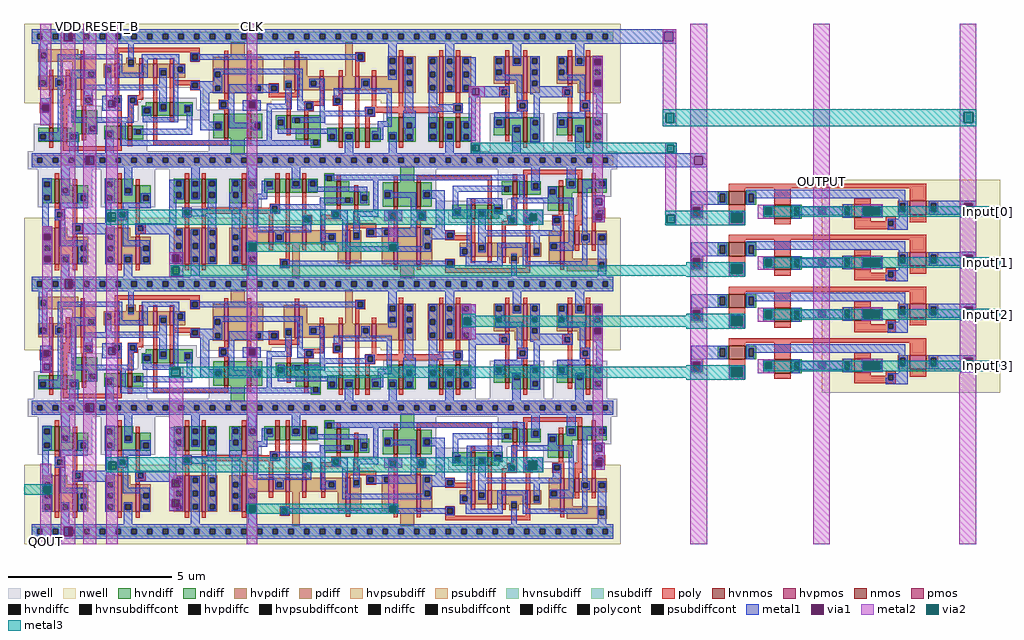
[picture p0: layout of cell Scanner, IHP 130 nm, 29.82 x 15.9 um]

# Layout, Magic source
magic
tech ihp-sg13g2
<< metal1 >>
rect 1768 2393 1969 2400
rect 1768 2364 1932 2393
rect 1959 2364 1969 2393
rect 1768 2356 1969 2364
rect 1356 2220 1460 2226
rect 1367 2198 1460 2220
rect 1356 2193 1460 2198
rect 1548 2193 1652 2226
rect 1768 2013 2063 2022
rect 1768 1987 2024 2013
rect 2050 1987 2063 2013
rect 1768 1978 2063 1987
rect 157 1774 224 1807
rect 316 1774 441 1807
rect 1356 1437 1460 1470
rect 1548 1437 1652 1470
rect 124 1018 228 1051
rect 316 1018 420 1051
<< via1 >>
rect 98 2364 125 2392
rect 1932 2364 1959 2393
rect 1719 2290 1739 2310
rect 1345 2198 1367 2220
rect 1718 2224 1740 2246
rect 32 2149 53 2171
rect 233 2162 256 2184
rect 662 2159 684 2181
rect 163 1986 190 2014
rect 2024 1987 2050 2013
rect 1722 1863 1743 1884
rect 1091 1819 1114 1842
rect 1521 1815 1542 1837
rect 1722 1817 1743 1838
rect 37 1755 57 1775
rect 38 1688 58 1708
rect 429 1689 451 1713
rect 100 1607 125 1636
rect 1719 1534 1739 1554
rect 1319 1496 1342 1519
rect 1719 1469 1739 1489
rect 35 1400 55 1420
rect 233 1406 256 1428
rect 662 1403 684 1425
rect 36 1359 56 1379
rect 163 1230 190 1258
rect 1721 1110 1743 1132
rect 1092 1063 1115 1085
rect 1517 1054 1544 1082
rect 1721 1064 1743 1086
rect 36 983 58 1005
rect 428 1001 452 1026
rect 428 940 452 965
rect 98 852 125 880
<< metal2 >>
rect 25 2171 60 2417
rect 25 2149 32 2171
rect 53 2149 60 2171
rect 25 2107 60 2149
rect 89 2392 133 2417
rect 89 2364 98 2392
rect 125 2364 133 2392
rect 32 1775 62 1798
rect 32 1755 37 1775
rect 57 1755 62 1775
rect 32 1708 62 1755
rect 32 1688 38 1708
rect 58 1688 62 1708
rect 32 1420 62 1688
rect 32 1400 35 1420
rect 55 1400 62 1420
rect 32 1379 62 1400
rect 32 1359 36 1379
rect 56 1359 62 1379
rect 32 1351 62 1359
rect 89 1636 133 2364
rect 89 1607 100 1636
rect 125 1607 133 1636
rect 25 1030 60 1073
rect 25 1005 62 1030
rect 25 983 36 1005
rect 58 983 62 1005
rect 25 978 62 983
rect 25 827 60 978
rect 89 880 133 1607
rect 89 852 97 880
rect 125 852 133 880
rect 89 827 133 852
rect 157 2014 196 2417
rect 157 1986 163 2014
rect 190 1986 196 2014
rect 157 1258 196 1986
rect 157 1230 163 1258
rect 190 1230 196 1258
rect 157 827 196 1230
rect 228 2184 263 2417
rect 228 2162 233 2184
rect 256 2162 263 2184
rect 228 1839 263 2162
rect 228 1813 232 1839
rect 257 1813 263 1839
rect 228 1428 263 1813
rect 657 2181 689 2417
rect 1927 2393 1969 2400
rect 1927 2364 1932 2393
rect 1959 2364 1969 2393
rect 1714 2310 1745 2319
rect 1714 2290 1719 2310
rect 1739 2290 1745 2310
rect 1714 2246 1745 2290
rect 1335 2220 1383 2226
rect 1335 2198 1345 2220
rect 1367 2198 1383 2220
rect 1335 2193 1383 2198
rect 1714 2224 1718 2246
rect 1740 2224 1745 2246
rect 657 2159 662 2181
rect 684 2159 689 2181
rect 657 1746 689 2159
rect 1342 2048 1370 2193
rect 1342 2027 1346 2048
rect 1367 2027 1370 2048
rect 1342 2022 1370 2027
rect 1714 1893 1745 2224
rect 1927 2143 1969 2364
rect 1927 2114 1936 2143
rect 1962 2114 1969 2143
rect 1927 2104 1969 2114
rect 1935 2048 1969 2053
rect 1935 2025 1941 2048
rect 1963 2025 1969 2048
rect 1714 1884 1751 1893
rect 1714 1863 1722 1884
rect 1743 1863 1751 1884
rect 1077 1842 1131 1848
rect 1077 1819 1091 1842
rect 1114 1819 1131 1842
rect 1077 1814 1131 1819
rect 1501 1837 1562 1849
rect 1501 1815 1521 1837
rect 1542 1815 1562 1837
rect 657 1725 662 1746
rect 685 1725 689 1746
rect 420 1713 462 1719
rect 420 1689 429 1713
rect 451 1689 462 1713
rect 420 1674 462 1689
rect 420 1652 429 1674
rect 451 1652 462 1674
rect 420 1644 462 1652
rect 228 1406 233 1428
rect 256 1406 263 1428
rect 228 1079 263 1406
rect 657 1425 689 1725
rect 1089 1749 1116 1814
rect 1501 1803 1562 1815
rect 1714 1838 1751 1863
rect 1714 1817 1722 1838
rect 1743 1817 1751 1838
rect 1714 1811 1751 1817
rect 1935 1833 1969 2025
rect 2011 2013 2063 2417
rect 2011 1987 2024 2013
rect 2050 1987 2063 2013
rect 2011 1911 2063 1987
rect 2387 1929 2438 2417
rect 2835 2147 2886 2417
rect 2835 2114 2847 2147
rect 2876 2114 2886 2147
rect 2835 1939 2886 2114
rect 1935 1807 1940 1833
rect 1964 1807 1969 1833
rect 1935 1802 1969 1807
rect 1089 1744 1119 1749
rect 1089 1724 1094 1744
rect 1114 1724 1119 1744
rect 1089 1720 1119 1724
rect 1314 1531 1356 1560
rect 1714 1554 1744 1562
rect 1714 1534 1719 1554
rect 1739 1534 1744 1554
rect 1314 1519 1357 1531
rect 1314 1496 1319 1519
rect 1342 1496 1357 1519
rect 1314 1490 1357 1496
rect 1314 1453 1356 1490
rect 1714 1489 1744 1534
rect 1714 1469 1719 1489
rect 1739 1469 1744 1489
rect 657 1403 662 1425
rect 684 1403 689 1425
rect 228 1055 234 1079
rect 258 1055 263 1079
rect 228 827 263 1055
rect 420 1366 462 1369
rect 420 1340 426 1366
rect 454 1340 462 1366
rect 420 1026 462 1340
rect 420 1001 428 1026
rect 452 1001 462 1026
rect 420 965 462 1001
rect 420 940 428 965
rect 452 940 462 965
rect 420 928 462 940
rect 657 946 689 1403
rect 1714 1137 1744 1469
rect 1714 1132 1751 1137
rect 1714 1110 1721 1132
rect 1743 1110 1751 1132
rect 1077 1085 1131 1092
rect 1077 1063 1092 1085
rect 1115 1063 1131 1085
rect 1077 1060 1131 1063
rect 1501 1082 1562 1093
rect 657 925 662 946
rect 684 925 689 946
rect 657 827 689 925
rect 1089 945 1118 1060
rect 1501 1054 1517 1082
rect 1544 1054 1562 1082
rect 1714 1086 1751 1110
rect 1714 1064 1721 1086
rect 1743 1064 1751 1086
rect 1714 1055 1751 1064
rect 1501 1047 1562 1054
rect 1089 925 1094 945
rect 1114 925 1118 945
rect 1089 920 1118 925
rect 2011 827 2063 1330
rect 2387 827 2438 1292
rect 2834 827 2885 1345
<< via2 >>
rect 36 983 57 1004
rect 232 1813 257 1839
rect 1346 2027 1367 2048
rect 1936 2114 1962 2143
rect 1941 2025 1963 2048
rect 1521 1815 1542 1837
rect 662 1725 685 1746
rect 429 1652 451 1674
rect 2847 2114 2876 2147
rect 1940 1807 1964 1833
rect 1094 1724 1114 1744
rect 1319 1496 1342 1519
rect 234 1055 258 1079
rect 426 1340 454 1366
rect 662 925 684 946
rect 1517 1054 1544 1082
rect 1094 925 1114 945
<< metal3 >>
rect 1927 2147 2885 2156
rect 1927 2143 2847 2147
rect 1927 2114 1936 2143
rect 1962 2114 2847 2143
rect 2876 2114 2885 2147
rect 1927 2104 2885 2114
rect 1341 2048 1970 2053
rect 1341 2027 1346 2048
rect 1367 2027 1941 2048
rect 1341 2025 1941 2027
rect 1963 2025 1970 2048
rect 1341 2022 1970 2025
rect 228 1839 1562 1849
rect 228 1813 232 1839
rect 257 1837 1562 1839
rect 257 1815 1521 1837
rect 1542 1815 1562 1837
rect 257 1813 1562 1815
rect 228 1803 1562 1813
rect 1935 1833 2009 1846
rect 1935 1807 1940 1833
rect 1964 1807 2009 1833
rect 2886 1828 2958 1860
rect 1935 1801 2009 1807
rect 657 1746 1119 1749
rect 657 1725 662 1746
rect 685 1744 1119 1746
rect 685 1725 1094 1744
rect 657 1724 1094 1725
rect 1114 1724 1119 1744
rect 657 1720 1119 1724
rect 424 1674 2000 1680
rect 424 1652 429 1674
rect 451 1652 2000 1674
rect 2886 1671 2958 1703
rect 424 1647 2000 1652
rect 1314 1525 1357 1531
rect 1314 1519 2000 1525
rect 1314 1496 1319 1519
rect 1342 1496 2000 1519
rect 2886 1514 2958 1546
rect 1314 1492 2000 1496
rect 1314 1490 1357 1492
rect 420 1366 2001 1369
rect 420 1340 426 1366
rect 454 1340 2001 1366
rect 2886 1356 2958 1388
rect 420 1335 2001 1340
rect 228 1082 1562 1093
rect 228 1079 1517 1082
rect 228 1055 234 1079
rect 258 1055 1517 1079
rect 228 1054 1517 1055
rect 1544 1054 1562 1082
rect 228 1047 1562 1054
rect -24 1004 62 1010
rect -24 983 36 1004
rect 57 983 62 1004
rect -24 978 62 983
rect 657 946 1119 950
rect 657 925 662 946
rect 684 945 1119 946
rect 684 925 1094 945
rect 1114 925 1119 945
rect 657 920 1119 925
use 4TgateVinj  4TgateVinj_0 ~/ASHES-IHP130nm/ihp130_cells/4TgateVinj
transform -1 0 2958 0 1 1762
box 0 -472 958 178
use sg13g2_buf_1  sg13g2_buf_1_0 ~/ASHES-IHP130nm/ihp130_dig
transform 1 0 1392 0 1 2000
box -24 -28 216 417
use sg13g2_buf_1  sg13g2_buf_1_1
transform 1 0 1584 0 1 2000
box -24 -28 216 417
use sg13g2_buf_1  sg13g2_buf_1_2
transform -1 0 192 0 -1 2000
box -24 -28 216 417
use sg13g2_buf_1  sg13g2_buf_1_3
transform -1 0 384 0 -1 2000
box -24 -28 216 417
use sg13g2_buf_1  sg13g2_buf_1_8
transform -1 0 384 0 -1 1244
box -24 -28 216 417
use sg13g2_buf_1  sg13g2_buf_1_9
transform -1 0 192 0 -1 1244
box -24 -28 216 417
use sg13g2_buf_1  sg13g2_buf_1_10
transform 1 0 1584 0 1 1244
box -24 -28 216 417
use sg13g2_buf_1  sg13g2_buf_1_11
transform 1 0 1392 0 1 1244
box -24 -28 216 417
use sg13g2_dfrbp_1  sg13g2_dfrbp_1_0 ~/ASHES-IHP130nm/ihp130_dig
transform 1 0 0 0 1 2000
box -24 -28 1416 417
use sg13g2_dfrbp_1  sg13g2_dfrbp_1_1
transform -1 0 1776 0 -1 2000
box -24 -28 1416 417
use sg13g2_dfrbp_1  sg13g2_dfrbp_1_4
transform 1 0 0 0 1 1244
box -24 -28 1416 417
use sg13g2_dfrbp_1  sg13g2_dfrbp_1_5
transform -1 0 1776 0 -1 1244
box -24 -28 1416 417
<< labels >>
flabel metal3 2886 1828 2958 1860 1 FreeSans 80 90 0 0 Input[0]
port 1 n
flabel metal3 2886 1671 2958 1703 1 FreeSans 80 90 0 0 Input[1]
port 2 n
flabel metal3 2886 1514 2958 1546 1 FreeSans 80 90 0 0 Input[2]
port 3 n
flabel metal3 2886 1356 2958 1388 1 FreeSans 80 90 0 0 Input[3]
port 4 n
flabel metal2 2387 1929 2438 1940 1 FreeSans 80 0 0 0 OUTPUT
port 5 n
flabel metal2 228 2400 263 2417 1 FreeSans 80 0 0 0 RESET_B
port 6 n
flabel metal2 657 2400 689 2417 1 FreeSans 80 0 0 0 CLK
port 7 n
flabel metal2 89 2400 133 2417 1 FreeSans 80 0 0 0 VDD
port 8 n
flabel metal2 157 2400 196 2417 1 FreeSans 80 0 0 0 VSS
port 9 n
flabel metal2 25 2400 60 2417 1 FreeSans 80 0 0 0 DIN
port 10 n
flabel metal2 25 827 60 844 1 FreeSans 80 0 0 0 QOUT
port 11 n
<< end >>

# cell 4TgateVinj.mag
magic
tech ihp-sg13g2
<< nwell >>
rect 0 -472 544 178
<< hvnmos >>
rect 779 102 829 144
rect 640 60 690 102
rect 779 -55 829 -13
rect 640 -97 690 -55
rect 779 -213 829 -171
rect 640 -255 690 -213
rect 779 -370 829 -328
rect 640 -412 690 -370
<< hvpmos >>
rect 225 72 275 114
rect 395 62 445 104
rect 225 -85 275 -43
rect 395 -95 445 -53
rect 225 -243 275 -201
rect 395 -253 445 -211
rect 225 -400 275 -358
rect 395 -410 445 -368
<< hvndiff >>
rect 745 136 779 144
rect 745 110 752 136
rect 768 110 779 136
rect 745 102 779 110
rect 829 136 863 144
rect 829 110 840 136
rect 856 110 863 136
rect 829 102 863 110
rect 606 94 640 102
rect 606 68 613 94
rect 629 68 640 94
rect 606 60 640 68
rect 690 90 724 102
rect 690 72 701 90
rect 717 72 724 90
rect 690 60 724 72
rect 745 -21 779 -13
rect 745 -47 752 -21
rect 768 -47 779 -21
rect 745 -55 779 -47
rect 829 -21 863 -13
rect 829 -47 840 -21
rect 856 -47 863 -21
rect 829 -55 863 -47
rect 606 -63 640 -55
rect 606 -89 613 -63
rect 629 -89 640 -63
rect 606 -97 640 -89
rect 690 -67 724 -55
rect 690 -85 701 -67
rect 717 -85 724 -67
rect 690 -97 724 -85
rect 745 -179 779 -171
rect 745 -205 752 -179
rect 768 -205 779 -179
rect 745 -213 779 -205
rect 829 -179 863 -171
rect 829 -205 840 -179
rect 856 -205 863 -179
rect 829 -213 863 -205
rect 606 -221 640 -213
rect 606 -247 613 -221
rect 629 -247 640 -221
rect 606 -255 640 -247
rect 690 -225 724 -213
rect 690 -243 701 -225
rect 717 -243 724 -225
rect 690 -255 724 -243
rect 745 -336 779 -328
rect 745 -362 752 -336
rect 768 -362 779 -336
rect 745 -370 779 -362
rect 829 -336 863 -328
rect 829 -362 840 -336
rect 856 -362 863 -336
rect 829 -370 863 -362
rect 606 -378 640 -370
rect 606 -404 613 -378
rect 629 -404 640 -378
rect 606 -412 640 -404
rect 690 -382 724 -370
rect 690 -400 701 -382
rect 717 -400 724 -382
rect 690 -412 724 -400
<< hvpdiff >>
rect 188 106 225 114
rect 188 80 195 106
rect 211 80 225 106
rect 188 72 225 80
rect 275 107 312 114
rect 275 81 289 107
rect 305 81 312 107
rect 275 72 312 81
rect 358 96 395 104
rect 358 70 366 96
rect 382 70 395 96
rect 358 62 395 70
rect 445 96 482 104
rect 445 70 459 96
rect 475 70 482 96
rect 445 62 482 70
rect 188 -51 225 -43
rect 188 -77 195 -51
rect 211 -77 225 -51
rect 188 -85 225 -77
rect 275 -50 312 -43
rect 275 -76 289 -50
rect 305 -76 312 -50
rect 275 -85 312 -76
rect 358 -61 395 -53
rect 358 -87 366 -61
rect 382 -87 395 -61
rect 358 -95 395 -87
rect 445 -61 482 -53
rect 445 -87 459 -61
rect 475 -87 482 -61
rect 445 -95 482 -87
rect 188 -209 225 -201
rect 188 -235 195 -209
rect 211 -235 225 -209
rect 188 -243 225 -235
rect 275 -208 312 -201
rect 275 -234 289 -208
rect 305 -234 312 -208
rect 275 -243 312 -234
rect 358 -219 395 -211
rect 358 -245 366 -219
rect 382 -245 395 -219
rect 358 -253 395 -245
rect 445 -219 482 -211
rect 445 -245 459 -219
rect 475 -245 482 -219
rect 445 -253 482 -245
rect 188 -366 225 -358
rect 188 -392 195 -366
rect 211 -392 225 -366
rect 188 -400 225 -392
rect 275 -365 312 -358
rect 275 -391 289 -365
rect 305 -391 312 -365
rect 275 -400 312 -391
rect 358 -376 395 -368
rect 358 -402 366 -376
rect 382 -402 395 -376
rect 358 -410 395 -402
rect 445 -376 482 -368
rect 445 -402 459 -376
rect 475 -402 482 -376
rect 445 -410 482 -402
<< hvndiffc >>
rect 752 110 768 136
rect 840 110 856 136
rect 613 68 629 94
rect 701 72 717 90
rect 752 -47 768 -21
rect 840 -47 856 -21
rect 613 -89 629 -63
rect 701 -85 717 -67
rect 752 -205 768 -179
rect 840 -205 856 -179
rect 613 -247 629 -221
rect 701 -243 717 -225
rect 752 -362 768 -336
rect 840 -362 856 -336
rect 613 -404 629 -378
rect 701 -400 717 -382
<< hvpdiffc >>
rect 195 80 211 106
rect 289 81 305 107
rect 366 70 382 96
rect 459 70 475 96
rect 195 -77 211 -51
rect 289 -76 305 -50
rect 366 -87 382 -61
rect 459 -87 475 -61
rect 195 -235 211 -209
rect 289 -234 305 -208
rect 366 -245 382 -219
rect 459 -245 475 -219
rect 195 -392 211 -366
rect 289 -391 305 -365
rect 366 -402 382 -376
rect 459 -402 475 -376
<< hvpsubdiff >>
rect 906 94 947 103
rect 906 66 916 94
rect 937 66 947 94
rect 906 58 947 66
rect 906 -63 947 -54
rect 906 -91 916 -63
rect 937 -91 947 -63
rect 906 -99 947 -91
rect 906 -221 947 -212
rect 906 -249 916 -221
rect 937 -249 947 -221
rect 906 -257 947 -249
rect 906 -378 947 -369
rect 906 -406 916 -378
rect 937 -406 947 -378
rect 906 -414 947 -406
<< hvnsubdiff >>
rect 72 106 123 115
rect 72 75 83 106
rect 111 75 123 106
rect 72 63 123 75
rect 72 -51 123 -42
rect 72 -82 83 -51
rect 111 -82 123 -51
rect 72 -94 123 -82
rect 72 -209 123 -200
rect 72 -240 83 -209
rect 111 -240 123 -209
rect 72 -252 123 -240
rect 72 -366 123 -357
rect 72 -397 83 -366
rect 111 -397 123 -366
rect 72 -409 123 -397
<< hvpsubdiffcont >>
rect 916 66 937 94
rect 916 -91 937 -63
rect 916 -249 937 -221
rect 916 -406 937 -378
<< hvnsubdiffcont >>
rect 83 75 111 106
rect 83 -82 111 -51
rect 83 -240 111 -209
rect 83 -397 111 -366
<< poly >>
rect 225 152 829 167
rect 225 114 275 152
rect 395 104 445 122
rect 225 49 275 72
rect 319 54 349 65
rect 640 102 690 152
rect 779 144 829 152
rect 319 38 326 54
rect 342 52 349 54
rect 395 52 445 62
rect 779 78 829 102
rect 342 38 445 52
rect 640 42 690 60
rect 779 48 788 78
rect 822 48 829 78
rect 779 39 829 48
rect 319 28 445 38
rect 225 -5 829 10
rect 225 -43 275 -5
rect 395 -53 445 -35
rect 225 -108 275 -85
rect 319 -103 349 -92
rect 640 -55 690 -5
rect 779 -13 829 -5
rect 319 -119 326 -103
rect 342 -105 349 -103
rect 395 -105 445 -95
rect 779 -79 829 -55
rect 342 -119 445 -105
rect 640 -115 690 -97
rect 779 -109 788 -79
rect 822 -109 829 -79
rect 779 -118 829 -109
rect 319 -129 445 -119
rect 225 -163 829 -148
rect 225 -201 275 -163
rect 395 -211 445 -193
rect 225 -266 275 -243
rect 319 -261 349 -250
rect 640 -213 690 -163
rect 779 -171 829 -163
rect 319 -277 326 -261
rect 342 -263 349 -261
rect 395 -263 445 -253
rect 779 -237 829 -213
rect 342 -277 445 -263
rect 640 -273 690 -255
rect 779 -267 788 -237
rect 822 -267 829 -237
rect 779 -276 829 -267
rect 319 -287 445 -277
rect 225 -320 829 -305
rect 225 -358 275 -320
rect 395 -368 445 -350
rect 225 -423 275 -400
rect 319 -418 349 -407
rect 640 -370 690 -320
rect 779 -328 829 -320
rect 319 -434 326 -418
rect 342 -420 349 -418
rect 395 -420 445 -410
rect 779 -394 829 -370
rect 342 -434 445 -420
rect 640 -430 690 -412
rect 779 -424 788 -394
rect 822 -424 829 -394
rect 779 -433 829 -424
rect 319 -444 445 -434
<< polycont >>
rect 326 38 342 54
rect 788 48 822 78
rect 326 -119 342 -103
rect 788 -109 822 -79
rect 326 -277 342 -261
rect 788 -267 822 -237
rect 326 -434 342 -418
rect 788 -424 822 -394
<< metal1 >>
rect 289 136 775 148
rect 289 122 752 136
rect 72 114 123 115
rect 289 114 310 122
rect 72 106 218 114
rect 72 75 83 106
rect 111 80 195 106
rect 211 80 218 106
rect 111 75 218 80
rect 72 72 218 75
rect 282 107 310 114
rect 282 81 289 107
rect 305 81 310 107
rect 751 110 752 122
rect 768 110 775 136
rect 72 63 123 72
rect 282 59 310 81
rect 361 96 389 104
rect 361 70 366 96
rect 386 70 389 96
rect 361 62 389 70
rect 451 96 479 104
rect 751 102 775 110
rect 833 136 943 144
rect 833 110 840 136
rect 856 110 943 136
rect 833 102 943 110
rect 612 96 636 102
rect 451 70 459 96
rect 475 94 636 96
rect 475 74 533 94
rect 556 74 613 94
rect 475 70 613 74
rect 451 62 479 70
rect 612 68 613 70
rect 629 68 636 94
rect 612 60 636 68
rect 690 94 724 102
rect 690 72 697 94
rect 717 72 724 94
rect 909 95 943 102
rect 690 60 724 72
rect 779 78 829 84
rect 282 54 343 59
rect 282 38 326 54
rect 342 38 343 54
rect 779 48 788 78
rect 822 48 829 78
rect 909 66 916 95
rect 938 66 943 95
rect 909 62 943 66
rect 779 39 829 48
rect 282 26 343 38
rect 289 -21 775 -9
rect 289 -35 752 -21
rect 72 -43 123 -42
rect 289 -43 310 -35
rect 72 -51 218 -43
rect 72 -82 83 -51
rect 111 -77 195 -51
rect 211 -77 218 -51
rect 111 -82 218 -77
rect 72 -85 218 -82
rect 282 -50 310 -43
rect 282 -76 289 -50
rect 305 -76 310 -50
rect 751 -47 752 -35
rect 768 -47 775 -21
rect 72 -94 123 -85
rect 282 -98 310 -76
rect 361 -61 389 -53
rect 361 -87 366 -61
rect 386 -87 389 -61
rect 361 -95 389 -87
rect 451 -61 479 -53
rect 751 -55 775 -47
rect 833 -21 943 -13
rect 833 -47 840 -21
rect 856 -47 943 -21
rect 833 -55 943 -47
rect 612 -61 636 -55
rect 451 -87 459 -61
rect 475 -63 636 -61
rect 475 -83 533 -63
rect 556 -83 613 -63
rect 475 -87 613 -83
rect 451 -95 479 -87
rect 612 -89 613 -87
rect 629 -89 636 -63
rect 612 -97 636 -89
rect 690 -63 724 -55
rect 690 -85 697 -63
rect 717 -85 724 -63
rect 909 -62 943 -55
rect 690 -97 724 -85
rect 779 -79 829 -73
rect 282 -103 343 -98
rect 282 -119 326 -103
rect 342 -111 343 -103
rect 779 -109 788 -79
rect 822 -109 829 -79
rect 909 -91 916 -62
rect 938 -91 943 -62
rect 909 -95 943 -91
rect 342 -119 349 -111
rect 779 -118 829 -109
rect 282 -131 349 -119
rect 289 -179 775 -167
rect 289 -193 752 -179
rect 72 -201 123 -200
rect 289 -201 310 -193
rect 72 -209 218 -201
rect 72 -240 83 -209
rect 111 -235 195 -209
rect 211 -235 218 -209
rect 111 -240 218 -235
rect 72 -243 218 -240
rect 282 -208 310 -201
rect 282 -234 289 -208
rect 305 -234 310 -208
rect 751 -205 752 -193
rect 768 -205 775 -179
rect 72 -252 123 -243
rect 282 -256 310 -234
rect 361 -219 389 -211
rect 361 -245 366 -219
rect 386 -245 389 -219
rect 361 -253 389 -245
rect 451 -219 479 -211
rect 751 -213 775 -205
rect 833 -179 943 -171
rect 833 -205 840 -179
rect 856 -205 943 -179
rect 833 -213 943 -205
rect 612 -219 636 -213
rect 451 -245 459 -219
rect 475 -221 636 -219
rect 475 -241 533 -221
rect 556 -241 613 -221
rect 475 -245 613 -241
rect 451 -253 479 -245
rect 612 -247 613 -245
rect 629 -247 636 -221
rect 612 -255 636 -247
rect 690 -221 724 -213
rect 690 -243 697 -221
rect 717 -243 724 -221
rect 909 -220 943 -213
rect 690 -255 724 -243
rect 779 -237 829 -231
rect 282 -261 343 -256
rect 282 -277 326 -261
rect 342 -277 343 -261
rect 779 -267 788 -237
rect 822 -267 829 -237
rect 909 -249 916 -220
rect 938 -249 943 -220
rect 909 -253 943 -249
rect 779 -276 829 -267
rect 282 -289 343 -277
rect 289 -336 775 -324
rect 289 -350 752 -336
rect 72 -358 123 -357
rect 289 -358 310 -350
rect 72 -366 218 -358
rect 72 -397 83 -366
rect 111 -392 195 -366
rect 211 -392 218 -366
rect 111 -397 218 -392
rect 72 -400 218 -397
rect 282 -365 310 -358
rect 282 -391 289 -365
rect 305 -391 310 -365
rect 751 -362 752 -350
rect 768 -362 775 -336
rect 72 -409 123 -400
rect 282 -413 310 -391
rect 361 -376 389 -368
rect 361 -402 366 -376
rect 386 -402 389 -376
rect 361 -410 389 -402
rect 451 -376 479 -368
rect 751 -370 775 -362
rect 833 -336 943 -328
rect 833 -362 840 -336
rect 856 -362 943 -336
rect 833 -370 943 -362
rect 612 -376 636 -370
rect 451 -402 459 -376
rect 475 -378 636 -376
rect 475 -398 533 -378
rect 556 -398 613 -378
rect 475 -402 613 -398
rect 451 -410 479 -402
rect 612 -404 613 -402
rect 629 -404 636 -378
rect 612 -412 636 -404
rect 690 -378 724 -370
rect 690 -400 697 -378
rect 717 -400 724 -378
rect 909 -377 943 -370
rect 690 -412 724 -400
rect 779 -394 829 -388
rect 282 -418 343 -413
rect 282 -434 326 -418
rect 342 -426 343 -418
rect 779 -424 788 -394
rect 822 -424 829 -394
rect 909 -406 916 -377
rect 938 -406 943 -377
rect 909 -410 943 -406
rect 342 -434 349 -426
rect 779 -433 829 -424
rect 282 -446 349 -434
<< via1 >>
rect 83 75 111 106
rect 366 70 382 96
rect 382 70 386 96
rect 533 74 556 94
rect 697 90 717 94
rect 697 72 701 90
rect 701 72 717 90
rect 788 48 822 78
rect 916 94 938 95
rect 916 66 937 94
rect 937 66 938 94
rect 83 -82 111 -51
rect 366 -87 382 -61
rect 382 -87 386 -61
rect 533 -83 556 -63
rect 697 -67 717 -63
rect 697 -85 701 -67
rect 701 -85 717 -67
rect 788 -109 822 -79
rect 916 -63 938 -62
rect 916 -91 937 -63
rect 937 -91 938 -63
rect 83 -240 111 -209
rect 366 -245 382 -219
rect 382 -245 386 -219
rect 533 -241 556 -221
rect 697 -225 717 -221
rect 697 -243 701 -225
rect 701 -243 717 -225
rect 788 -267 822 -237
rect 916 -221 938 -220
rect 916 -249 937 -221
rect 937 -249 938 -221
rect 83 -397 111 -366
rect 366 -402 382 -376
rect 382 -402 386 -376
rect 533 -398 556 -378
rect 697 -382 717 -378
rect 697 -400 701 -382
rect 701 -400 717 -382
rect 788 -424 822 -394
rect 916 -378 938 -377
rect 916 -406 937 -378
rect 937 -406 938 -378
<< metal2 >>
rect 72 106 123 178
rect 72 75 83 106
rect 111 75 123 106
rect 72 -51 123 75
rect 358 96 423 104
rect 358 70 366 96
rect 418 70 423 96
rect 358 62 423 70
rect 520 94 571 178
rect 520 74 533 94
rect 556 74 571 94
rect 72 -82 83 -51
rect 111 -82 123 -51
rect 72 -209 123 -82
rect 358 -61 423 -53
rect 358 -87 366 -61
rect 418 -87 423 -61
rect 358 -95 423 -87
rect 520 -63 571 74
rect 690 94 740 102
rect 690 71 697 94
rect 717 71 740 94
rect 895 95 947 178
rect 690 60 740 71
rect 779 78 829 84
rect 779 48 788 78
rect 822 48 829 78
rect 779 39 829 48
rect 895 66 916 95
rect 938 66 947 95
rect 520 -83 533 -63
rect 556 -83 571 -63
rect 72 -240 83 -209
rect 111 -240 123 -209
rect 72 -366 123 -240
rect 358 -219 423 -211
rect 358 -245 366 -219
rect 418 -245 423 -219
rect 358 -253 423 -245
rect 520 -221 571 -83
rect 690 -63 740 -55
rect 690 -86 697 -63
rect 717 -86 740 -63
rect 895 -62 947 66
rect 690 -97 740 -86
rect 779 -79 829 -73
rect 779 -109 788 -79
rect 822 -109 829 -79
rect 779 -118 829 -109
rect 895 -91 916 -62
rect 938 -91 947 -62
rect 520 -241 533 -221
rect 556 -241 571 -221
rect 72 -397 83 -366
rect 111 -397 123 -366
rect 72 -472 123 -397
rect 358 -376 423 -368
rect 358 -402 366 -376
rect 418 -402 423 -376
rect 358 -410 423 -402
rect 520 -378 571 -241
rect 690 -221 740 -213
rect 690 -244 697 -221
rect 717 -244 740 -221
rect 895 -220 947 -91
rect 690 -255 740 -244
rect 779 -237 829 -231
rect 779 -267 788 -237
rect 822 -267 829 -237
rect 779 -276 829 -267
rect 895 -249 916 -220
rect 938 -249 947 -220
rect 520 -398 533 -378
rect 556 -398 571 -378
rect 520 -472 571 -398
rect 690 -378 740 -370
rect 690 -401 697 -378
rect 717 -401 740 -378
rect 895 -377 947 -249
rect 690 -412 740 -401
rect 779 -394 829 -388
rect 779 -424 788 -394
rect 822 -424 829 -394
rect 779 -433 829 -424
rect 895 -406 916 -377
rect 938 -406 947 -377
rect 895 -472 947 -406
<< via2 >>
rect 366 70 386 96
rect 386 70 418 96
rect 366 -87 386 -61
rect 386 -87 418 -61
rect 697 72 717 93
rect 697 71 717 72
rect 788 48 822 78
rect 366 -245 386 -219
rect 386 -245 418 -219
rect 697 -85 717 -64
rect 697 -86 717 -85
rect 788 -109 822 -79
rect 366 -402 386 -376
rect 386 -402 418 -376
rect 697 -243 717 -222
rect 697 -244 717 -243
rect 788 -267 822 -237
rect 697 -400 717 -379
rect 697 -401 717 -400
rect 788 -424 822 -394
<< metal3 >>
rect 0 96 722 98
rect 0 70 366 96
rect 418 93 722 96
rect 418 71 697 93
rect 717 71 722 93
rect 418 70 722 71
rect 0 66 722 70
rect 779 78 958 84
rect 779 48 788 78
rect 822 48 958 78
rect 779 39 958 48
rect 0 -61 722 -59
rect 0 -87 366 -61
rect 418 -64 722 -61
rect 418 -86 697 -64
rect 717 -86 722 -64
rect 418 -87 722 -86
rect 0 -91 722 -87
rect 779 -79 958 -73
rect 779 -109 788 -79
rect 822 -109 958 -79
rect 779 -118 958 -109
rect 0 -219 722 -217
rect 0 -245 366 -219
rect 418 -222 722 -219
rect 418 -244 697 -222
rect 717 -244 722 -222
rect 418 -245 722 -244
rect 0 -249 722 -245
rect 779 -237 958 -231
rect 779 -267 788 -237
rect 822 -267 958 -237
rect 779 -276 958 -267
rect 0 -376 722 -374
rect 0 -402 366 -376
rect 418 -379 722 -376
rect 418 -401 697 -379
rect 717 -401 722 -379
rect 418 -402 722 -401
rect 0 -406 722 -402
rect 779 -394 958 -388
rect 779 -424 788 -394
rect 822 -424 958 -394
rect 779 -433 958 -424
<< labels >>
flabel metal2 72 167 123 178 1 FreeSans 40 0 0 0 VINJ
port 1 n
flabel metal3 0 66 10 98 1 FreeSans 40 90 0 0 INPUT[0]
port 2 n
flabel metal3 0 -91 10 -59 1 FreeSans 40 90 0 0 INPUT[1]
port 3 n
flabel metal3 0 -249 10 -217 1 FreeSans 40 90 0 0 INPUT[2]
port 4 n
flabel metal3 0 -406 10 -374 1 FreeSans 40 90 0 0 INPUT[3]
port 5 n
flabel metal2 520 167 571 178 1 FreeSans 40 0 0 0 OUTPUT
port 6 n
flabel metal2 895 167 947 178 1 FreeSans 40 0 0 0 GND
port 7 n
flabel metal3 947 39 958 84 1 FreeSans 40 90 0 0 SELECT[0]
port 8 n
flabel metal3 947 -118 958 -73 1 FreeSans 40 90 0 0 SELECT[1]
port 9 n
flabel metal3 947 -276 958 -231 1 FreeSans 40 90 0 0 SELECT[2]
port 10 n
flabel metal3 947 -433 958 -388 1 FreeSans 40 90 0 0 SELECT[3]
port 11 n
<< end >>

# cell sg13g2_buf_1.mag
magic
tech ihp-sg13g2
magscale 1 2
<< nwell >>
rect -48 350 432 834
<< pwell >>
rect 14 56 348 288
rect -26 -56 410 56
<< nmos >>
rect 108 152 134 262
rect 218 114 244 262
<< pmos >>
rect 108 468 134 636
rect 218 412 244 636
<< ndiff >>
rect 40 247 108 262
rect 40 215 54 247
rect 86 215 108 247
rect 40 152 108 215
rect 134 202 218 262
rect 134 170 164 202
rect 196 170 218 202
rect 134 152 218 170
rect 148 114 218 152
rect 244 245 322 262
rect 244 213 276 245
rect 308 213 322 245
rect 244 162 322 213
rect 244 130 276 162
rect 308 130 322 162
rect 244 114 322 130
<< pdiff >>
rect 40 622 108 636
rect 40 590 54 622
rect 86 590 108 622
rect 40 554 108 590
rect 40 522 54 554
rect 86 522 108 554
rect 40 468 108 522
rect 134 622 218 636
rect 134 590 164 622
rect 196 590 218 622
rect 134 468 218 590
rect 168 412 218 468
rect 244 622 319 636
rect 244 590 273 622
rect 305 590 319 622
rect 244 554 319 590
rect 244 522 273 554
rect 305 522 319 554
rect 244 486 319 522
rect 244 454 273 486
rect 305 454 319 486
rect 244 412 319 454
<< ndiffc >>
rect 54 215 86 247
rect 164 170 196 202
rect 276 213 308 245
rect 276 130 308 162
<< pdiffc >>
rect 54 590 86 622
rect 54 522 86 554
rect 164 590 196 622
rect 273 590 305 622
rect 273 522 305 554
rect 273 454 305 486
<< psubdiff >>
rect 0 16 384 30
rect 0 -16 32 16
rect 64 -16 128 16
rect 160 -16 224 16
rect 256 -16 320 16
rect 352 -16 384 16
rect 0 -30 384 -16
<< nsubdiff >>
rect 0 772 384 786
rect 0 740 32 772
rect 64 740 128 772
rect 160 740 224 772
rect 256 740 320 772
rect 352 740 384 772
rect 0 726 384 740
<< psubdiffcont >>
rect 32 -16 64 16
rect 128 -16 160 16
rect 224 -16 256 16
rect 320 -16 352 16
<< nsubdiffcont >>
rect 32 740 64 772
rect 128 740 160 772
rect 224 740 256 772
rect 320 740 352 772
<< poly >>
rect 108 636 134 672
rect 218 636 244 672
rect 108 446 134 468
rect 73 432 134 446
rect 73 400 87 432
rect 119 400 134 432
rect 73 386 134 400
rect 108 262 134 386
rect 218 366 244 412
rect 184 349 244 366
rect 184 317 198 349
rect 230 317 244 349
rect 184 300 244 317
rect 218 262 244 300
rect 108 116 134 152
rect 218 78 244 114
<< polycont >>
rect 87 400 119 432
rect 198 317 230 349
<< metal1 >>
rect 0 772 384 800
rect 0 740 32 772
rect 64 740 128 772
rect 160 740 224 772
rect 256 740 320 772
rect 352 740 384 772
rect 0 712 384 740
rect 48 622 102 636
rect 48 590 54 622
rect 86 590 102 622
rect 48 554 102 590
rect 154 622 206 712
rect 154 590 164 622
rect 196 590 206 622
rect 154 578 206 590
rect 260 622 320 636
rect 260 590 273 622
rect 305 590 320 622
rect 48 522 54 554
rect 86 524 102 554
rect 260 554 320 590
rect 86 522 214 524
rect 48 488 214 522
rect 57 432 136 452
rect 57 400 87 432
rect 119 400 136 432
rect 57 386 136 400
rect 180 366 214 488
rect 260 522 273 554
rect 305 522 320 554
rect 260 486 320 522
rect 260 454 273 486
rect 305 454 320 486
rect 260 404 320 454
rect 180 349 245 366
rect 180 317 198 349
rect 230 317 245 349
rect 180 300 245 317
rect 180 293 214 300
rect 43 258 214 293
rect 282 258 320 404
rect 43 247 103 258
rect 43 215 54 247
rect 86 215 103 247
rect 43 200 103 215
rect 262 245 320 258
rect 153 202 203 214
rect 153 170 164 202
rect 196 170 203 202
rect 153 44 203 170
rect 262 213 276 245
rect 308 213 320 245
rect 262 162 320 213
rect 262 130 276 162
rect 308 130 320 162
rect 262 110 320 130
rect 0 16 384 44
rect 0 -16 32 16
rect 64 -16 128 16
rect 160 -16 224 16
rect 256 -16 320 16
rect 352 -16 384 16
rect 0 -44 384 -16
<< labels >>
flabel metal1 s 263 414 316 589 0 FreeSans 340 0 0 0 X
port 2 nsew
flabel metal1 s 57 386 136 452 0 FreeSans 340 0 0 0 A
port 1 nsew
flabel metal1 s 0 -44 384 44 0 FreeSans 400 0 0 0 VSS
port 4 nsew
flabel metal1 s 0 712 384 800 0 FreeSans 400 0 0 0 VDD
port 3 nsew
<< properties >>
string FIXED_BBOX 0 0 384 756
<< end >>

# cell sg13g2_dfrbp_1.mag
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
